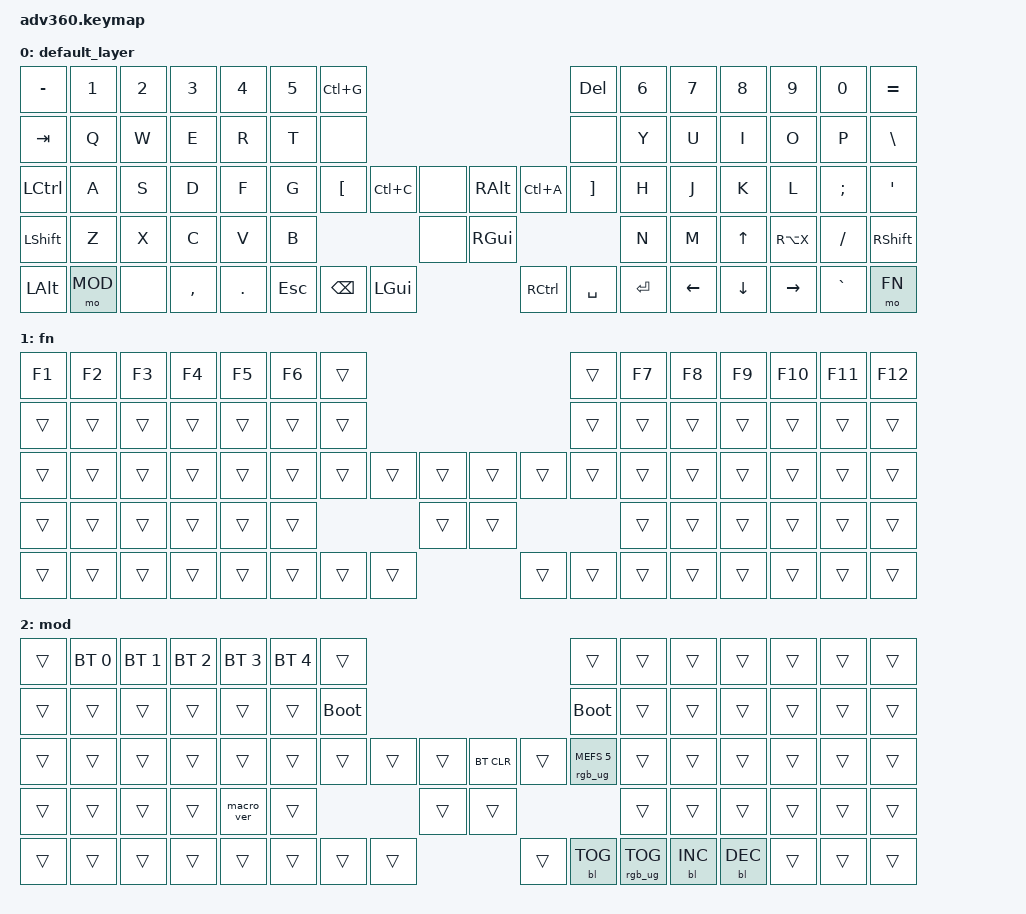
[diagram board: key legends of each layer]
#include <behaviors.dtsi>
#include <dt-bindings/zmk/keys.h>
#include <dt-bindings/zmk/bt.h>
#include <dt-bindings/zmk/rgb.h>
#include <dt-bindings/zmk/backlight.h>

#define DEFAULT	0
#define FN		1
#define MOD		2

/ {
    behaviors {
      #include "macros.dtsi"
      #include "version.dtsi"
      #ifndef VERSION_MACRO
      macro_ver: macro_ver {
        compatible = "zmk,behavior-macro";
        label = "macro_version";
        #binding-cells = <0>;
        bindings = <&kp RET>;
      };
      #endif

      hm: homerow_mods {
          compatible = "zmk,behavior-hold-tap";
          label = "HOMEROW_MODS";
          #binding-cells = <2>;
          tapping-term-ms = <200>;
          quick_tap_ms = <175>;
          flavor = "tap-preferred";
          bindings = <&kp>, <&kp>;
      };
    };

  keymap {
    compatible = "zmk,keymap";

    default_layer {
      bindings = <
        &kp MINUS &kp N1    &kp N2		&kp N3		&kp N4     &kp N5 &kp LC(G)															&kp DEL		&kp N6	&kp N7		&kp N8    &kp N9	&kp N0		&kp EQUAL
        &kp TAB   &kp Q     &kp W		&kp E		&kp R      &kp T  &none																&none		&kp Y	&kp U		&kp I     &kp O		&kp P		&kp BSLH
        &kp LCTRL &kp A     &kp S		&kp D		&kp F      &kp G  &kp LBKT       &kp LC(C)	&none   	&kp RALT  &kp LC(A)         &kp RBKT	&kp H	&kp J		&kp K     &kp L		&kp SEMI	&kp SQT
        &kp LSHFT &kp Z     &kp X		&kp C		&kp V      &kp B                            &none   	&kp RGUI								&kp N	&kp M		&kp UP	  &kp RA(X)	&kp FSLH	&kp RSHFT
        &kp LALT  &mo MOD   &none   	&kp COMMA	&kp DOT					&kp ESC  &kp BSPC	&kp LGUI	&kp RCTRL &kp SPACE &kp ENTER					&kp LEFT	&kp DOWN  &kp RIGHT	&kp GRAVE	&mo FN
      >;
    };
	/*
    keypad {
      bindings = <
        &kp EQUAL &kp N1    &kp N2   &kp N3   &kp N4     &kp N5 &trans                                                           &mo 3 &kp N6 &kp KP_NUM &kp KP_EQUAL &kp KP_DIVIDE &kp KP_MULTIPLY &kp MINUS
        &kp TAB   &kp Q     &kp W    &kp E    &kp R      &kp T  &none                                                            &none &kp Y  &kp KP_N7  &kp KP_N8    &kp KP_N9     &kp KP_MINUS    &kp BSLH
        &kp ESC   &kp A     &kp S    &kp D    &kp F      &kp G  &none           &kp LCTRL &kp LALT &kp LGUI  &kp RCTRL           &none &kp H  &kp KP_N4  &kp KP_N5    &kp KP_N6     &kp KP_PLUS     &kp SQT
        &kp LSHFT &kp Z     &kp X    &kp C    &kp V      &kp B                            &kp HOME &kp PG_UP                           &kp N  &kp KP_N1  &kp KP_N2    &kp KP_N3     &kp KP_ENTER    &kp RSHFT
        &mo 2     &kp GRAVE &kp CAPS &kp LEFT &kp RIGHT                &kp BSPC &kp DEL   &kp END  &kp PG_DN &kp ENTER &kp KP_N0              &kp UP     &kp DOWN     &kp KP_DOT    &kp RBKT        &mo 2
      >;
    };
	*/
    fn {
      bindings = <
        &kp F1 &kp F2 &kp F3 &kp F4 &kp F5 &kp F6  &trans                                          &trans &kp F7 &kp F8 &kp F9 &kp F10 &kp F11 &kp F12
        &trans &trans &trans &trans &trans &trans  &trans                                          &trans &trans &trans &trans &trans  &trans  &trans
        &trans &trans &trans &trans &trans &trans  &trans       &trans &trans &trans &trans        &trans &trans &trans &trans &trans  &trans  &trans
        &trans &trans &trans &trans &trans &trans                      &trans &trans                      &trans &trans &trans &trans  &trans  &trans
        &trans &trans &trans &trans &trans               &trans &trans &trans &trans &trans &trans               &trans &trans &trans  &trans  &trans
      >;
    };
    mod {
      bindings = <
        &trans &bt BT_SEL 0	&bt BT_SEL 1	&bt BT_SEL 2	&bt BT_SEL 3	&bt BT_SEL 4	&trans																					&trans					&trans	&trans      &trans      &trans &trans &trans
        &trans &trans		&trans			&trans			&trans			&trans			&bootloader																				&bootloader				&trans	&trans      &trans      &trans &trans &trans
        &trans &trans		&trans			&trans			&trans			&trans			&trans				&trans	&trans	&bt BT_CLR	&trans									&rgb_ug RGB_MEFS_CMD 5	&trans	&trans		&trans      &trans &trans &trans
        &trans &trans		&trans			&trans			&macro_ver		&trans										&trans	&trans																		&trans	&trans		&trans      &trans &trans &trans
        &trans &trans		&trans			&trans			&trans										&trans	&trans	&trans	&trans		&bl BL_TOG	&rgb_ug RGB_TOG												&bl BL_INC	&bl BL_DEC	&trans &trans &trans
      >;
    };
  };
};
